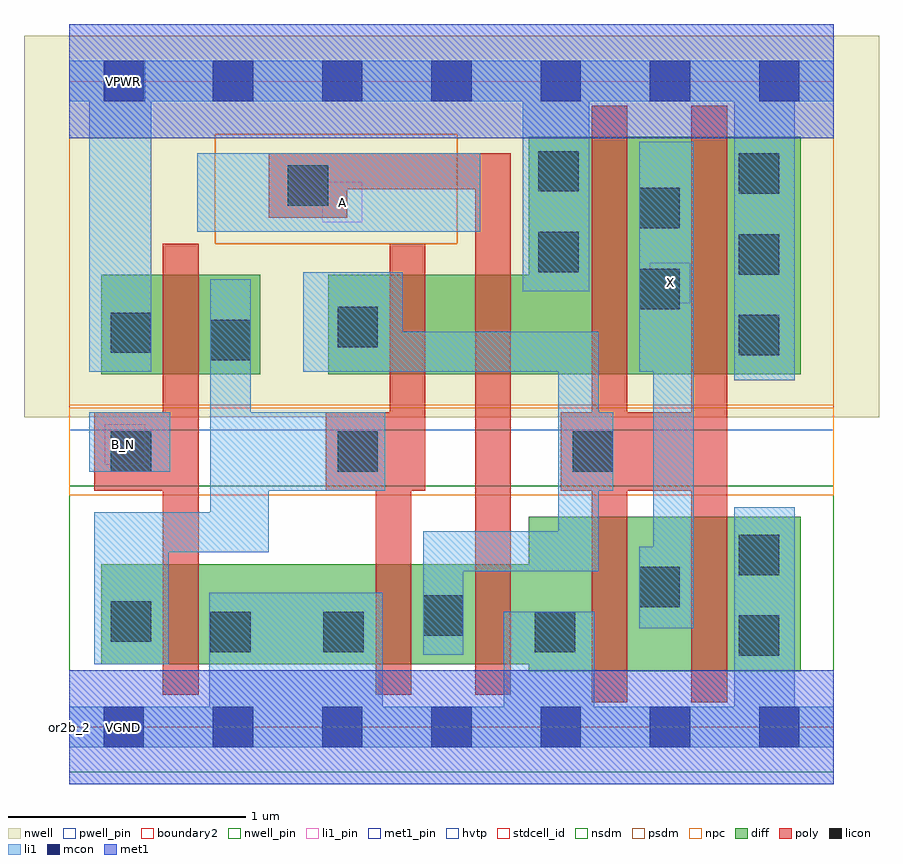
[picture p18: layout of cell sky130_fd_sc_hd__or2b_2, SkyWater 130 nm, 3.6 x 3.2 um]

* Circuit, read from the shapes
.subckt sky130_fd_sc_hd__or2b_2 A B_N VGND VNB VPB VPWR X
XM1 VGND B_N n1 VNB sky130_fd_pr__nfet_01v8 w=0.42 l=0.15
XM2 n2 n1 VGND VNB sky130_fd_pr__nfet_01v8 w=0.42 l=0.15
XM3 VGND A n2 VNB sky130_fd_pr__nfet_01v8 w=0.42 l=0.15
XM4 X n2 VGND VNB sky130_fd_pr__nfet_01v8 w=0.65 l=0.15 m=2
XM5 n1 B_N VPWR VPB sky130_fd_pr__pfet_01v8_hvt w=0.42 l=0.15
XM6 n3 n1 n2 VPB sky130_fd_pr__pfet_01v8_hvt w=0.42 l=0.15
XM7 VPWR A n3 VPB sky130_fd_pr__pfet_01v8_hvt w=0.42 l=0.15
XM8 X n2 VPWR VPB sky130_fd_pr__pfet_01v8_hvt w=1 l=0.15 m=2
.ends

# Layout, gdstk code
import gdstk
lib = gdstk.Library(unit=1e-6, precision=1e-09)
def R(c, l, rs):  # rectangles x0, y0, x1, y1
    for r in rs: c.add(gdstk.rectangle(r[:2], r[2:], *l))
def A(c, l, x, y, w, h, nx, ny, dx, dy):  # array of equal rectangles
    R(c, l, [(x+i*dx, y+j*dy, x+i*dx+w, y+j*dy+h) for i in range(nx) for j in range(ny)])
def P(c, l, *ps):  # polygons
    for p in ps: c.add(gdstk.Polygon(p, *l))
nwell_pin = (64, 16)
nwell = (64, 20)
diff = (65, 20)
poly = (66, 20)
licon = (66, 44)
li1_pin = (67, 16)
li1 = (67, 20)
mcon = (67, 44)
met1_pin = (68, 16)
met1 = (68, 20)
hvtp = (78, 44)
stdcell_id = (81, 4)
nsdm = (93, 44)
psdm = (94, 20)
npc = (95, 20)
pwell_pin = (122, 16)
boundary2 = (236, 0)

sky130_fd_sc_hd__or2b_2 = lib.new_cell('sky130_fd_sc_hd__or2b_2')
R(sky130_fd_sc_hd__or2b_2, nwell_pin, [(0.15,2.635,0.32,2.805)])
R(sky130_fd_sc_hd__or2b_2, nwell, [(-0.19,1.305,3.41,2.91)])
R(sky130_fd_sc_hd__or2b_2, diff, [(0.135,1.485,0.805,1.905)])
P(sky130_fd_sc_hd__or2b_2, diff, [(3.08,0.885),(1.935,0.885),(1.935,0.685),(0.135,0.685),(0.135,0.265),(1.935,0.265),(1.935,0.235),(3.08,0.235)],
  [(3.08,2.485),(1.935,2.485),(1.935,1.905),(1.09,1.905),(1.09,1.485),(3.08,1.485)])
P(sky130_fd_sc_hd__or2b_2, poly, [(1.5,2.035),(1.35,2.035),(1.35,1.325),(1.08,1.325),(1.08,0.995),(1.29,0.995),(1.29,0.135),(1.44,0.135),(1.44,0.995),(1.5,0.995)],
  [(2.77,2.615),(2.62,2.615),(2.62,1.325),(2.35,1.325),(2.35,2.615),(2.2,2.615),(2.2,1.325),(2.07,1.325),(2.07,0.995),(2.2,0.995),(2.2,0.105),(2.35,0.105),(2.35,0.995),(2.62,0.995),(2.62,0.105),(2.77,0.105)],
  [(1.86,2.415),(0.84,2.415),(0.84,2.145),(1.17,2.145),(1.17,2.265),(1.71,2.265),(1.71,0.135),(1.86,0.135)],
  [(0.545,2.035),(0.395,2.035),(0.395,1.325),(0.105,1.325),(0.105,0.995),(0.395,0.995),(0.395,0.135),(0.545,0.135)])
A(sky130_fd_sc_hd__or2b_2, licon, 2.82, 1.565, 0.17, 0.17, 1, 3, 0, 0.34)
R(sky130_fd_sc_hd__or2b_2, licon, [(2.82,0.3,2.99,0.47), (0.595,0.315,0.765,0.485), (1.07,0.315,1.24,0.485), (1.96,0.315,2.13,0.485), (0.175,0.36,0.345,0.53), (1.49,0.385,1.66,0.555), (2.4,0.505,2.57,0.675), (2.82,0.64,2.99,0.81), (0.175,1.075,0.345,1.245), (1.13,1.075,1.3,1.245), (2.12,1.075,2.29,1.245), (0.595,1.545,0.765,1.715), (0.175,1.575,0.345,1.745), (1.13,1.6,1.3,1.77), (2.4,1.76,2.57,1.93), (1.975,1.915,2.145,2.085), (2.4,2.1,2.57,2.27), (0.92,2.195,1.09,2.365), (1.975,2.255,2.145,2.425)])
R(sky130_fd_sc_hd__or2b_2, li1_pin, [(0.15,1.105,0.32,1.275), (2.445,1.785,2.615,1.955), (1.065,2.125,1.235,2.295)])
R(sky130_fd_sc_hd__or2b_2, li1, [(0.085,1.075,0.425,1.325), (0.54,2.085,1.73,2.415)])
P(sky130_fd_sc_hd__or2b_2, li1, [(3.22,0.085),(3.055,0.085),(3.055,0.925),(2.8,0.925),(2.8,0.085),(2.21,0.085),(2.21,0.485),(1.83,0.485),(1.83,0.085),(1.32,0.085),(1.32,0.565),(0.59,0.565),(0.59,0.085),(0,0.085),(0,-0.085),(3.22,-0.085)],
  [(3.22,2.805),(0,2.805),(0,2.635),(0.085,2.635),(0.085,1.495),(0.345,1.495),(0.345,2.635),(1.91,2.635),(1.91,1.835),(2.19,1.835),(2.19,2.635),(2.8,2.635),(2.8,1.46),(3.055,1.46),(3.055,2.635),(3.22,2.635)],
  [(2.63,2.465),(2.4,2.465),(2.4,1.495),(2.46,1.495),(2.46,0.76),(2.4,0.76),(2.4,0.415),(2.63,0.415)],
  [(1.33,1.325),(0.765,1.325),(0.765,1.885),(0.595,1.885),(0.595,0.905),(0.105,0.905),(0.105,0.265),(0.42,0.265),(0.42,0.735),(0.84,0.735),(0.84,0.995),(1.33,0.995)],
  [(2.29,1.325),(2.23,1.325),(2.23,1.665),(1.405,1.665),(1.405,1.915),(0.985,1.915),(0.985,1.495),(2.06,1.495),(2.06,0.825),(1.49,0.825),(1.49,0.305),(1.66,0.305),(1.66,0.655),(2.23,0.655),(2.23,0.995),(2.29,0.995)])
A(sky130_fd_sc_hd__or2b_2, mcon, 0.145, -0.085, 0.17, 0.17, 7, 2, 0.46, 2.72)
R(sky130_fd_sc_hd__or2b_2, met1_pin, [(0.145,-0.085,0.315,0.085), (0.15,2.635,0.32,2.805)])
R(sky130_fd_sc_hd__or2b_2, hvtp, [(0,1.25,3.22,2.72)])
R(sky130_fd_sc_hd__or2b_2, stdcell_id, [(0,0,3.22,2.72)])
R(sky130_fd_sc_hd__or2b_2, nsdm, [(0,-0.19,3.22,1.015)])
P(sky130_fd_sc_hd__or2b_2, psdm, [(3.22,2.91),(1.635,2.91),(1.635,2.035),(0.615,2.035),(0.615,2.495),(1.635,2.495),(1.635,2.91),(0,2.91),(0,1.355),(3.22,1.355)])
R(sky130_fd_sc_hd__or2b_2, npc, [(0,0.975,3.22,1.345), (0.615,2.035,1.635,2.495)])
R(sky130_fd_sc_hd__or2b_2, pwell_pin, [(0.145,-0.085,0.315,0.085)])
R(sky130_fd_sc_hd__or2b_2, boundary2, [(0,0,3.22,2.72)])
sky130_fd_sc_hd__or2b_2.add(gdstk.FlexPath([(0,2.72),(3.22,2.72)], 0.48, ends="flush", simple_path=True, layer=68, datatype=20))  # met1
sky130_fd_sc_hd__or2b_2.add(gdstk.FlexPath([(0,0),(3.22,0)], 0.48, ends="flush", simple_path=True, layer=68, datatype=20))  # met1
sky130_fd_sc_hd__or2b_2.add(gdstk.Label('A', (1.15,2.21), layer=67, texttype=5))
sky130_fd_sc_hd__or2b_2.add(gdstk.Label('B_N', (0.23,1.19), layer=67, texttype=5))
sky130_fd_sc_hd__or2b_2.add(gdstk.Label('X', (2.53,1.87), layer=67, texttype=5))
sky130_fd_sc_hd__or2b_2.add(gdstk.Label('VPWR', (0.23,2.72), layer=68, texttype=5))
sky130_fd_sc_hd__or2b_2.add(gdstk.Label('VGND', (0.23,0), layer=68, texttype=5))
sky130_fd_sc_hd__or2b_2.add(gdstk.Label('VNB', (0.23,0), layer=64, texttype=59))
sky130_fd_sc_hd__or2b_2.add(gdstk.Label('VPB', (0.23,2.72), layer=64, texttype=5))
sky130_fd_sc_hd__or2b_2.add(gdstk.Label('or2b_2', (0,0), layer=83, texttype=44))

lib.write_gds('sky130_fd_sc_hd__or2b_2.gds')
